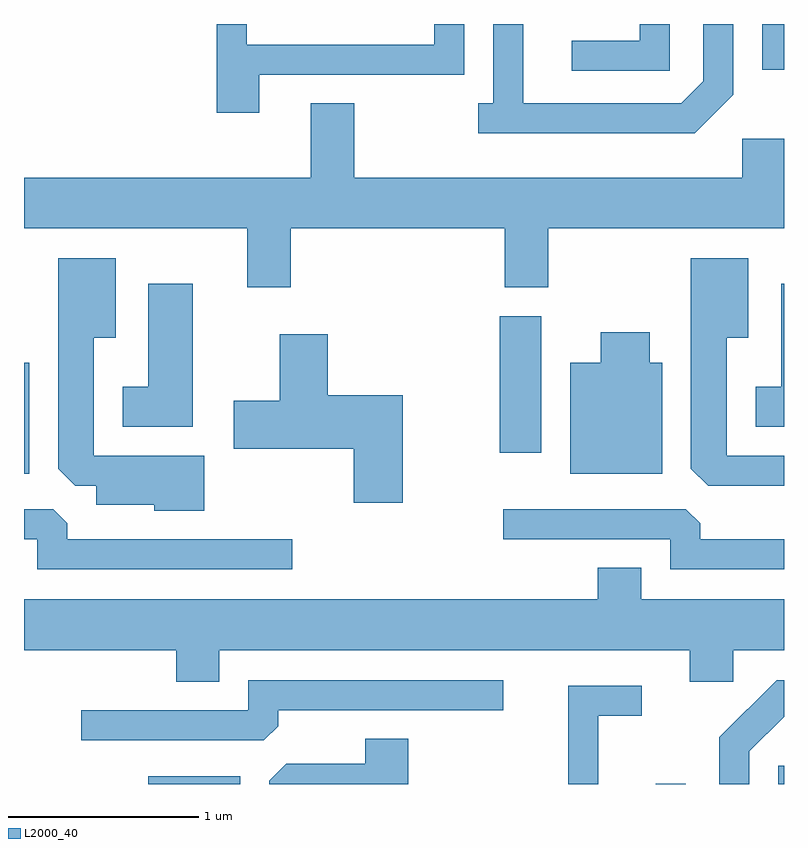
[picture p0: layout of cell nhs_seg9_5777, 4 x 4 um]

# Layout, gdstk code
import gdstk
lib = gdstk.Library(unit=1e-6, precision=1e-09)
def R(c, l, rs):  # rectangles x0, y0, x1, y1
    for r in rs: c.add(gdstk.rectangle(r[:2], r[2:], *l))
def P(c, l, *ps):  # polygons
    for p in ps: c.add(gdstk.Polygon(p, *l))
L2000_40 = (2000, 40)

nhs_seg9_5777 = lib.new_cell('nhs_seg9_5777')
R(nhs_seg9_5777, L2000_40, [(356.266,2004.432,356.749,2004.474), (358.936,2004.432,359.094,2004.433), (359.581,2004.432,359.611,2004.529), (355.611,2006.066,355.639,2006.649), (358.116,2006.176,358.334,2006.894), (359.496,2008.191,359.611,2008.432)])
P(nhs_seg9_5777, L2000_40, [(359.009,2008.432),(358.851,2008.432),(358.851,2008.344),(358.493,2008.344),(358.493,2008.186),(359.009,2008.186)],
  [(359.344,2008.059),(359.344,2008.432),(359.186,2008.432),(359.186,2008.132),(359.069,2008.014),(358.239,2008.014),(358.239,2008.432),(358.081,2008.432),(358.081,2008.014),(358.003,2008.014),(358.003,2007.856),(359.142,2007.856)],
  [(356.849,2008.166),(357.929,2008.166),(357.929,2008.432),(357.771,2008.432),(357.771,2008.324),(356.784,2008.324),(356.784,2008.432),(356.626,2008.432),(356.626,2007.966),(356.849,2007.966)],
  [(357.014,2007.356),(358.141,2007.356),(358.141,2007.046),(358.369,2007.046),(358.369,2007.356),(359.611,2007.356),(359.611,2007.829),(359.391,2007.829),(359.391,2007.624),(357.349,2007.624),(357.349,2008.014),(357.121,2008.014),(357.121,2007.624),(355.611,2007.624),(355.611,2007.356),(356.786,2007.356),(356.786,2007.046),(357.014,2007.046)],
  [(359.611,2006.159),(359.309,2006.159),(359.309,2006.781),(359.424,2006.781),(359.424,2007.199),(359.121,2007.199),(359.121,2006.092),(359.212,2006.001),(359.611,2006.001)],
  [(356.559,2006.159),(355.979,2006.159),(355.979,2006.781),(356.094,2006.781),(356.094,2007.199),(355.791,2007.199),(355.791,2006.092),(355.882,2006.001),(355.991,2006.001),(355.991,2005.901),(356.296,2005.901),(356.296,2005.871),(356.559,2005.871)],
  [(356.499,2007.064),(356.266,2007.064),(356.266,2006.524),(356.131,2006.524),(356.131,2006.311),(356.499,2006.311)],
  [(359.611,2007.064),(359.596,2007.064),(359.596,2006.524),(359.461,2006.524),(359.461,2006.311),(359.611,2006.311)],
  [(358.969,2006.649),(358.904,2006.649),(358.904,2006.809),(358.646,2006.809),(358.646,2006.649),(358.486,2006.649),(358.486,2006.066),(358.969,2006.066)],
  [(357.604,2006.479),(357.209,2006.479),(357.209,2006.799),(356.956,2006.799),(356.956,2006.449),(356.716,2006.449),(356.716,2006.196),(357.346,2006.196),(357.346,2005.911),(357.604,2005.911)],
  [(359.611,2005.719),(359.169,2005.719),(359.169,2005.804),(359.094,2005.879),(358.133,2005.879),(358.133,2005.721),(359.011,2005.721),(359.011,2005.561),(359.611,2005.561)],
  [(357.023,2005.719),(355.839,2005.719),(355.839,2005.804),(355.764,2005.879),(355.611,2005.879),(355.611,2005.721),(355.681,2005.721),(355.681,2005.561),(357.023,2005.561)],
  [(356.639,2005.136),(359.116,2005.136),(359.116,2004.971),(359.344,2004.971),(359.344,2005.136),(359.611,2005.136),(359.611,2005.404),(358.859,2005.404),(358.859,2005.569),(358.631,2005.569),(358.631,2005.404),(355.611,2005.404),(355.611,2005.136),(356.411,2005.136),(356.411,2004.971),(356.639,2004.971)],
  [(359.429,2004.604),(359.611,2004.785),(359.611,2004.979),(359.574,2004.979),(359.271,2004.677),(359.271,2004.432),(359.429,2004.432)],
  [(356.949,2004.737),(356.949,2004.821),(358.133,2004.821),(358.133,2004.979),(356.791,2004.979),(356.791,2004.819),(355.913,2004.819),(355.913,2004.661),(356.874,2004.661)],
  [(358.634,2004.791),(358.863,2004.791),(358.863,2004.949),(358.476,2004.949),(358.476,2004.432),(358.634,2004.432)],
  [(357.634,2004.669),(357.406,2004.669),(357.406,2004.539),(356.992,2004.539),(356.901,2004.449),(356.901,2004.432),(357.634,2004.432)])

lib.write_gds('nhs_seg9_5777.gds')
